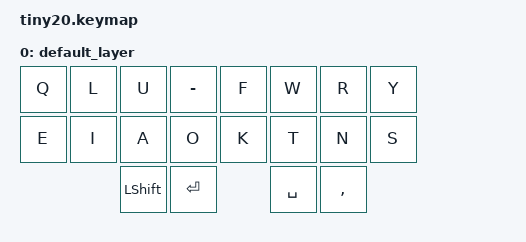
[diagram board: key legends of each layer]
#include <behaviors.dtsi>
#include <dt-bindings/zmk/keys.h>
#include <dt-bindings/zmk/bt.h>
/ {
    keymap　{
        compatible = "zmk,keymap";
        default_layer {
            bindings = <
                &kp Q   &kp L   &kp U   &kp MINUS   &kp F   &kp W   &kp R   &kp Y
                &kp E   &kp I   &kp A   &kp O       &kp K   &kp T   &kp N   &kp S
                                &kp LSHIFT   &kp RET   &kp SPACE   &kp COMMA
            >;
        };
    };
};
